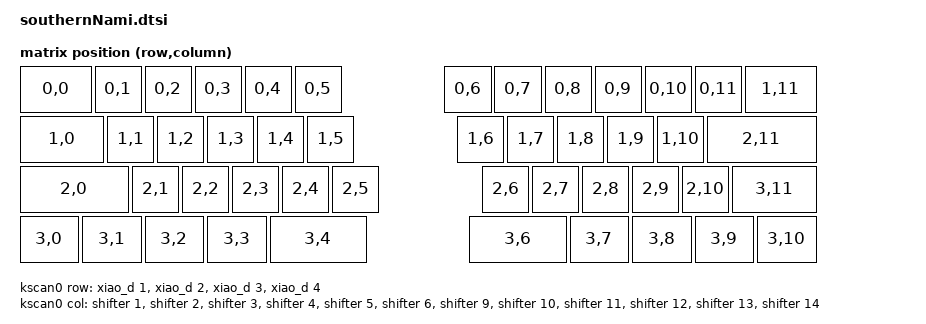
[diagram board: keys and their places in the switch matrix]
#include <physical_layouts.dtsi>
#include <dt-bindings/zmk/matrix_transform.h>

&xiao_spi {
    status = "okay";
    cs-gpios = <&xiao_d 7 GPIO_ACTIVE_LOW>;
    shifter: 595@0 {
        compatible = "zmk,gpio-595";
        status = "okay";
        gpio-controller;
        spi-max-frequency = <200000>;
        reg = <0>;
        #gpio-cells = <2>;
        ngpios = <16>;
    };
};

/ {
    chosen {
        zmk,physical-layout = &physical_layout0;
    };

    physical_layout0: physical_layout_0 {
        compatible = "zmk,physical-layout";
        display-name = "Southern // NAMI";

        kscan = <&kscan0>;
        transform = <&matrix_transform0>;

        keys  //                     w   h    x    y     rot    rx    ry
            = <&key_physical_attrs 150 100    0    0       0     0     0>
            , <&key_physical_attrs 100 100  150    0       0     0     0>
            , <&key_physical_attrs 100 100  250    0       0     0     0>
            , <&key_physical_attrs 100 100  350    0       0     0     0>
            , <&key_physical_attrs 100 100  450    0       0     0     0>
            , <&key_physical_attrs 100 100  550    0       0     0     0>
            , <&key_physical_attrs 100 100  850    0       0     0     0>
            , <&key_physical_attrs 100 100  950    0       0     0     0>
            , <&key_physical_attrs 100 100 1050    0       0     0     0>
            , <&key_physical_attrs 100 100 1150    0       0     0     0>
            , <&key_physical_attrs 100 100 1250    0       0     0     0>
            , <&key_physical_attrs 100 100 1350    0       0     0     0>
            , <&key_physical_attrs 150 100 1450    0       0     0     0>
            , <&key_physical_attrs 175 100    0  100       0     0     0>
            , <&key_physical_attrs 100 100  175  100       0     0     0>
            , <&key_physical_attrs 100 100  275  100       0     0     0>
            , <&key_physical_attrs 100 100  375  100       0     0     0>
            , <&key_physical_attrs 100 100  475  100       0     0     0>
            , <&key_physical_attrs 100 100  575  100       0     0     0>
            , <&key_physical_attrs 100 100  875  100       0     0     0>
            , <&key_physical_attrs 100 100  975  100       0     0     0>
            , <&key_physical_attrs 100 100 1075  100       0     0     0>
            , <&key_physical_attrs 100 100 1175  100       0     0     0>
            , <&key_physical_attrs 100 100 1275  100       0     0     0>
            , <&key_physical_attrs 225 100 1375  100       0     0     0>
            , <&key_physical_attrs 225 100    0  200       0     0     0>
            , <&key_physical_attrs 100 100  225  200       0     0     0>
            , <&key_physical_attrs 100 100  325  200       0     0     0>
            , <&key_physical_attrs 100 100  425  200       0     0     0>
            , <&key_physical_attrs 100 100  525  200       0     0     0>
            , <&key_physical_attrs 100 100  625  200       0     0     0>
            , <&key_physical_attrs 100 100  925  200       0     0     0>
            , <&key_physical_attrs 100 100 1025  200       0     0     0>
            , <&key_physical_attrs 100 100 1125  200       0     0     0>
            , <&key_physical_attrs 100 100 1225  200       0     0     0>
            , <&key_physical_attrs 100 100 1325  200       0     0     0>
            , <&key_physical_attrs 175 100 1425  200       0     0     0>
            , <&key_physical_attrs 125 100    0  300       0     0     0>
            , <&key_physical_attrs 125 100  125  300       0     0     0>
            , <&key_physical_attrs 125 100  250  300       0     0     0>
            , <&key_physical_attrs 125 100  375  300       0     0     0>
            , <&key_physical_attrs 200 100  500  300       0     0     0>
            , <&key_physical_attrs 200 100  900  300       0     0     0>
            , <&key_physical_attrs 125 100 1100  300       0     0     0>
            , <&key_physical_attrs 125 100 1225  300       0     0     0>
            , <&key_physical_attrs 125 100 1350  300       0     0     0>
            , <&key_physical_attrs 125 100 1475  300       0     0     0>
            ;
    };

   default_transform: keymap_transform0 {
        compatible = "zmk,matrix-transform";
        rows = <2>;
        columns = <5>;
        map = <
            RC(0,0) RC(0,1) RC(0,2) RC(0,3) RC(0,4) RC(0,5)    RC(0,6) RC(0,7) RC(0,8) RC(0,9) RC(0,10) RC(0,11) RC(1,11)
            RC(1,0) RC(1,1) RC(1,2) RC(1,3) RC(1,4) RC(1,5)    RC(1,6) RC(1,7) RC(1,8) RC(1,9) RC(1,10) RC(2,11)
            RC(2,0) RC(2,1) RC(2,2) RC(2,3) RC(2,4) RC(2,5)    RC(2,6) RC(2,7) RC(2,8) RC(2,9) RC(2,10) RC(3,11)
            RC(3,0) RC(3,1) RC(3,2) RC(3,3) RC(3,4)            RC(3,6) RC(3,7) RC(3,8) RC(3,9) RC(3,10) 
        >;
    };

    kscan0: kscan0 {
        compatible = "zmk,kscan-gpio-matrix";
        diode-direction = "col2row";
        wakeup-source;
        col-gpios
            = <&shifter 1 GPIO_ACTIVE_HIGH>
            , <&shifter 2 GPIO_ACTIVE_HIGH>
            , <&shifter 3 GPIO_ACTIVE_HIGH>
            , <&shifter 4 GPIO_ACTIVE_HIGH>
            , <&shifter 5 GPIO_ACTIVE_HIGH>
            , <&shifter 6 GPIO_ACTIVE_HIGH>
            , <&shifter 9 GPIO_ACTIVE_HIGH>
            , <&shifter 10 GPIO_ACTIVE_HIGH>
            , <&shifter 11 GPIO_ACTIVE_HIGH>
            , <&shifter 12 GPIO_ACTIVE_HIGH>
            , <&shifter 13 GPIO_ACTIVE_HIGH>
            , <&shifter 14 GPIO_ACTIVE_HIGH>
        ;
        
        row-gpios
            = <&xiao_d 1 (GPIO_ACTIVE_HIGH | GPIO_PULL_DOWN)>
            , <&xiao_d 2 (GPIO_ACTIVE_HIGH | GPIO_PULL_DOWN)>
            , <&xiao_d 3 (GPIO_ACTIVE_HIGH | GPIO_PULL_DOWN)>
            , <&xiao_d 4 (GPIO_ACTIVE_HIGH | GPIO_PULL_DOWN)>
        ;
    }; 
};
